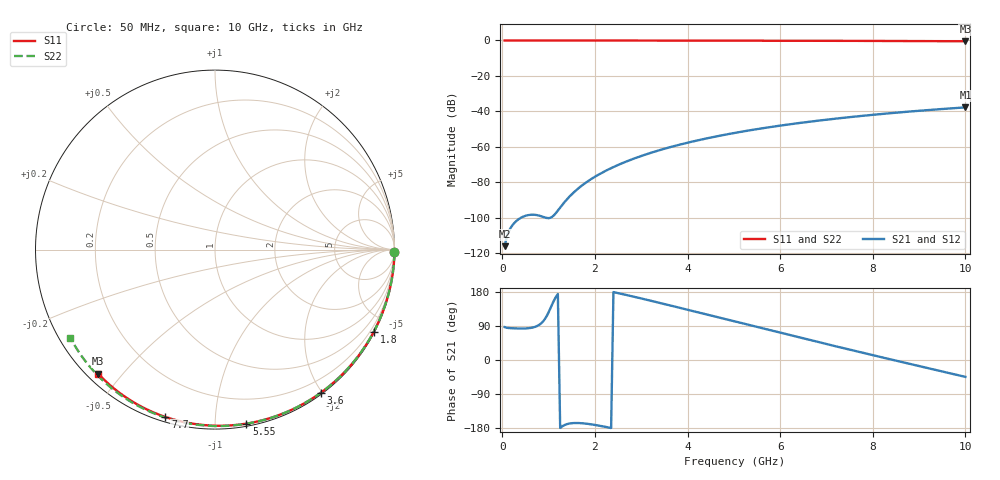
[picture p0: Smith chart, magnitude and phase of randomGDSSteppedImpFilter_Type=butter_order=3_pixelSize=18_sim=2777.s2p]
! freq	dB(S11)	phase(S11)	dB(S12)	phase(S12)
!  dB(S21)	phase(S21)	dB(S22)	phase(S22)
!S-par simulation data
#  GHz  S  DB  R 50
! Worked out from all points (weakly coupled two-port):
!   200 points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, 50 MHz to 10 GHz, reference 50 ohm
!   highest |S21| = -37.72 dB at 10 GHz (marker M1); lowest = -116.0 dB at 50 MHz (marker M2)
!   lowest |S11| = -0.5 dB at 10 GHz (marker M3), VSWR 38.60, Z = 1.54 - j21.6 ohm
!   |S11| at or under -10 dB: nowhere
!   |S22| runs from -0.5 to 0.0 dB; largest |S21 - S12| = 0
!   S11 on the Smith chart (normalised r, x): 50 MHz: open; 1.8 GHz: 0.04, -4.11; 3.6 GHz: 0.02, -1.99; 5.55 GHz: 0.02, -1.20; 7.7 GHz: 0.02, -0.75; 10 GHz: 0.03, -0.43
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0.05  -0.00 -0.8  -115.96 86.8  -115.96 86.8  -0.00 -0.9
0.45  -0.01 -6.9  -99.34 83.1  -99.34 83.1  -0.01 -7.8
0.9  -0.02 -13.8  -99.63 104.7  -99.63 104.7  -0.02 -15.4
1.3  -0.02 -19.8  -92.53 -174.6  -92.53 -174.6  -0.03 -22.2
1.75  -0.03 -26.6  -81.17 -167.2  -81.17 -167.2  -0.04 -29.7
1.8  -0.03 -27.3  -80.22 -167.8  -80.22 -167.8  -0.04 -30.5
2.15  -0.04 -32.5  -74.62 -174.6  -74.62 -174.6  -0.05 -36.3
2.5  -0.05 -37.6  -70.19 176.5  -70.19 176.5  -0.05 -42.0
2.9  -0.06 -43.5  -66.05 165.4  -66.05 165.4  -0.06 -48.5
3.4  -0.07 -50.6  -61.80 150.7  -61.80 150.7  -0.08 -56.4
3.6  -0.07 -53.4  -60.32 144.7  -60.32 144.7  -0.08 -59.5
3.9  -0.08 -57.6  -58.28 135.6  -58.28 135.6  -0.09 -64.2
4.3  -0.09 -63.1  -55.85 123.5  -55.85 123.5  -0.10 -70.3
5.05  -0.11 -73.2  -51.97 100.7  -51.97 100.7  -0.13 -81.4
5.55  -0.13 -79.8  -49.78 85.5  -49.78 85.5  -0.15 -88.6
6.1  -0.15 -86.8  -47.65 68.9  -47.65 68.9  -0.17 -96.4
6.7  -0.18 -94.3  -45.59 51.0  -45.59 51.0  -0.20 -104.7
7.2  -0.21 -100.5  -44.07 36.2  -44.07 36.2  -0.24 -111.5
7.7  -0.24 -106.5  -42.69 21.5  -42.69 21.5  -0.27 -118.2
8.35  -0.29 -114.2  -41.07 2.6  -41.07 2.6  -0.33 -126.8
9.2  -0.37 -124.1  -39.22 -21.7  -39.22 -21.7  -0.41 -138.0
10  -0.45 -133.3  -37.72 -44.5  -37.72 -44.5  -0.50 -148.6
